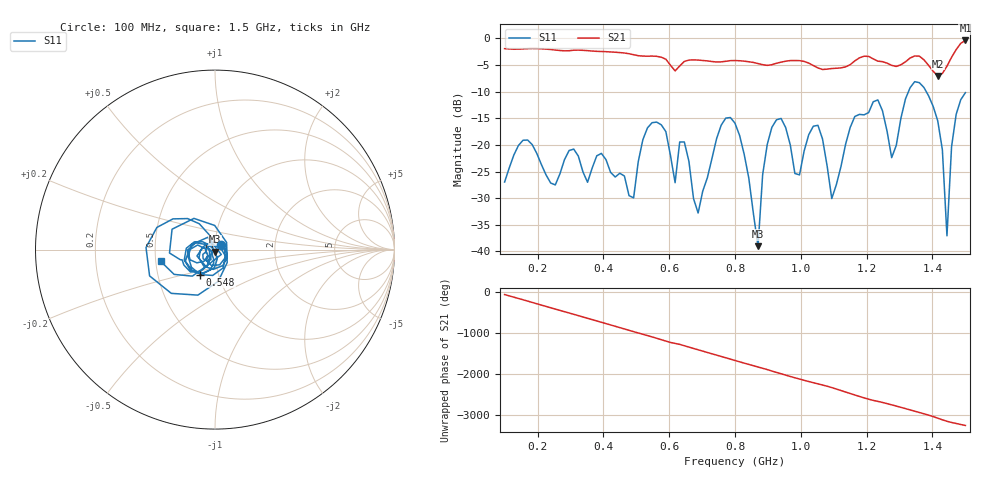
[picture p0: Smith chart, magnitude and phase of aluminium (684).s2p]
! NanoVNA-App
! Date: 2025-09-25 15:00:36
! Start: 100MHz Stop: 1,5GHz Points: 101
! S-Parameter data: F S11 S21 S12 S22
# Hz S RI R 50
!  Frequency  S11_Real  S11_Imag  S21_Real  S21_Imag  S12_Real  S12_Imag  S22_Real  S22_Imag
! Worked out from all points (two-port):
!   101 points, 100 MHz to 1.5 GHz, reference 50 ohm
!   highest |S21| = -0.38 dB at 1.5 GHz (marker M1); lowest = -7.0 dB at 1.416 GHz (marker M2)
!   |S21| within 3 dB of the highest: start of sweep to 563.9 MHz; 1.46 GHz to end of sweep (the widest 2 of 4)
!   lowest |S11| = -39.0 dB at 870 MHz (marker M3), VSWR 1.02, Z = 50.2 - j1.11 ohm
!   |S11| at or under -10 dB: start of sweep to 1.327 GHz; 1.381 GHz to end of sweep
!   S12 and S22 are empty: the file has one direction only
!   S11 on the Smith chart (normalised r, x): 100 MHz: 1.07, +0.06; 548 MHz: 0.82, -0.23; 1.5 GHz: 0.53, -0.08
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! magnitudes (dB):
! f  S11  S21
! 100 MHz  -27.0  -1.9
! 156 MHz  -19.1  -2.0
! 338 MHz  -25.1  -2.2
! 492 MHz  -29.9  -3.1
! 548 MHz  -15.8  -3.3
! 576 MHz  -16.2  -3.5
! 618 MHz  -27.1  -6.1
! 646 MHz  -19.4  -4.3
! 688 MHz  -32.8  -4.1
! 800 MHz  -15.9  -4.2
! 870 MHz  -39.0  -4.7
! 912 MHz  -16.7  -4.9
! 996 MHz  -25.6  -4.2
! 1.038 GHz  -16.5  -5.1
! 1.094 GHz  -30.1  -5.6
! 1.22 GHz  -11.9  -3.8
! 1.276 GHz  -22.4  -5.1
! 1.346 GHz  -8.1  -3.3
! 1.416 GHz  -15.5  -7.0
! 1.444 GHz  -37.1  -5.2
! 1.458 GHz  -20.3  -3.5
! 1.5 GHz  -10.2  -0.4
